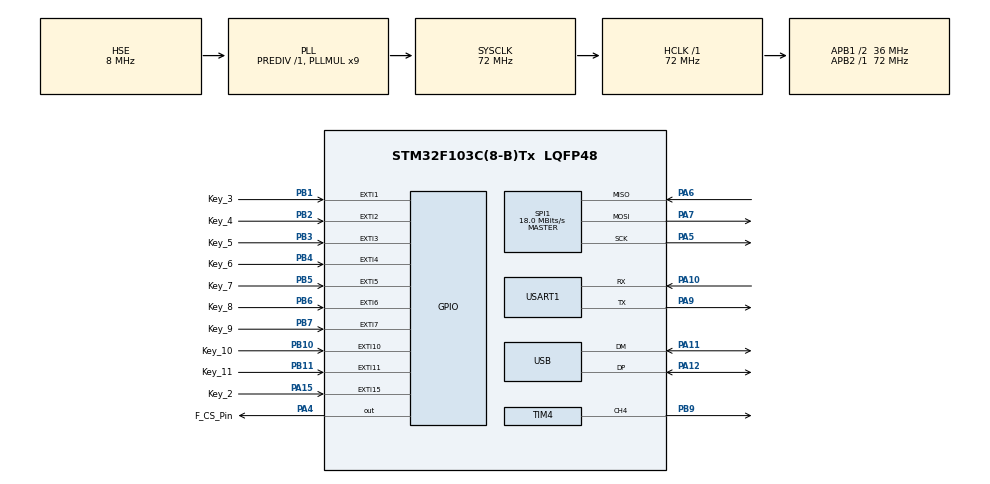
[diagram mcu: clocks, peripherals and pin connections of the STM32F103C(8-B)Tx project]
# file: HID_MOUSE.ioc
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Dma.Request0=USART1_TX
Dma.Request1=SPI1_RX
Dma.Request2=SPI1_TX
Dma.Request3=USART1_RX
Dma.SPI1_RX.1.Direction=DMA_PERIPH_TO_MEMORY
Dma.SPI1_RX.1.Instance=DMA1_Channel2
Dma.SPI1_RX.1.MemDataAlignment=DMA_MDATAALIGN_BYTE
Dma.SPI1_RX.1.MemInc=DMA_MINC_ENABLE
Dma.SPI1_RX.1.Mode=DMA_NORMAL
Dma.SPI1_RX.1.PeriphDataAlignment=DMA_PDATAALIGN_BYTE
Dma.SPI1_RX.1.PeriphInc=DMA_PINC_DISABLE
Dma.SPI1_RX.1.Priority=DMA_PRIORITY_LOW
Dma.SPI1_TX.2.Direction=DMA_MEMORY_TO_PERIPH
Dma.SPI1_TX.2.Instance=DMA1_Channel3
Dma.SPI1_TX.2.MemDataAlignment=DMA_MDATAALIGN_BYTE
Dma.SPI1_TX.2.MemInc=DMA_MINC_ENABLE
Dma.SPI1_TX.2.Mode=DMA_NORMAL
Dma.SPI1_TX.2.PeriphDataAlignment=DMA_PDATAALIGN_BYTE
Dma.SPI1_TX.2.PeriphInc=DMA_PINC_DISABLE
Dma.SPI1_TX.2.Priority=DMA_PRIORITY_LOW
Dma.USART1_RX.3.Direction=DMA_PERIPH_TO_MEMORY
Dma.USART1_RX.3.Instance=DMA1_Channel5
Dma.USART1_RX.3.MemDataAlignment=DMA_MDATAALIGN_BYTE
Dma.USART1_RX.3.MemInc=DMA_MINC_ENABLE
Dma.USART1_RX.3.Mode=DMA_CIRCULAR
Dma.USART1_RX.3.PeriphDataAlignment=DMA_PDATAALIGN_BYTE
Dma.USART1_RX.3.PeriphInc=DMA_PINC_DISABLE
Dma.USART1_RX.3.Priority=DMA_PRIORITY_LOW
Dma.USART1_TX.0.Direction=DMA_MEMORY_TO_PERIPH
Dma.USART1_TX.0.Instance=DMA1_Channel4
Dma.USART1_TX.0.MemDataAlignment=DMA_MDATAALIGN_BYTE
Dma.USART1_TX.0.MemInc=DMA_MINC_ENABLE
Dma.USART1_TX.0.Mode=DMA_NORMAL
Dma.USART1_TX.0.PeriphDataAlignment=DMA_PDATAALIGN_BYTE
Dma.USART1_TX.0.PeriphInc=DMA_PINC_DISABLE
Dma.USART1_TX.0.Priority=DMA_PRIORITY_LOW
FREERTOS.INCLUDE_vTaskDelayUntil=1
FREERTOS.Tasks01=defaultTask,0,128,StartDefaultTask,Default,NULL
FREERTOS.configTIMER_QUEUE_LENGTH=5
FREERTOS.configTIMER_TASK_STACK_DEPTH=128
FREERTOS.configTOTAL_HEAP_SIZE=6144
FREERTOS.configUSE_TIMERS=1
Mcu.Family=STM32F1
Mcu.Name=STM32F103C(8-B)Tx
Mcu.Package=LQFP48
NVIC.DMA1_Channel2_IRQn=true\:5\:0\:false\:false\:true\:true\:false
NVIC.DMA1_Channel3_IRQn=true\:5\:0\:false\:false\:true\:true\:false
NVIC.DMA1_Channel4_IRQn=true\:5\:0\:false\:false\:true\:true\:false
NVIC.DMA1_Channel5_IRQn=true\:5\:0\:false\:false\:true\:true\:false
NVIC.EXTI15_10_IRQn=true\:5\:0\:false\:false\:true\:true\:true
NVIC.EXTI1_IRQn=true\:5\:0\:false\:false\:true\:true\:true
NVIC.EXTI2_IRQn=true\:5\:0\:false\:false\:true\:true\:true
NVIC.EXTI3_IRQn=true\:5\:0\:false\:false\:true\:true\:true
NVIC.EXTI4_IRQn=true\:5\:0\:false\:false\:true\:true\:true
NVIC.EXTI9_5_IRQn=true\:5\:0\:false\:false\:true\:true\:true
NVIC.FLASH_IRQn=true\:5\:0\:false\:false\:true\:true\:true
NVIC.PVD_IRQn=true\:5\:0\:false\:false\:true\:true\:true
NVIC.PriorityGroup=NVIC_PRIORITYGROUP_4
NVIC.RCC_IRQn=true\:5\:0\:false\:false\:true\:true\:true
NVIC.SPI1_IRQn=true\:5\:0\:false\:false\:true\:true\:true
NVIC.TIM1_UP_IRQn=true\:0\:0\:false\:false\:true\:false\:false
NVIC.TIM4_IRQn=true\:5\:0\:false\:false\:true\:true\:true
NVIC.TimeBase=TIM1_UP_IRQn
NVIC.TimeBaseIP=TIM1
NVIC.USART1_IRQn=true\:5\:0\:false\:false\:true\:true\:true
NVIC.USB_HP_CAN1_TX_IRQn=true\:6\:0\:true\:false\:true\:true\:true
NVIC.USB_LP_CAN1_RX0_IRQn=true\:6\:0\:true\:false\:true\:true\:true
PA0-WKUP.Mode=SYS_WakeUp0
PA0-WKUP.Signal=SYS_WKUP
PA10.Mode=Asynchronous
PA10.Signal=USART1_RX
PA11.Mode=Device
PA11.Signal=USB_DM
PA12.Mode=Device
PA12.Signal=USB_DP
PA13.Mode=Serial_Wire
PA13.Signal=SYS_JTMS-SWDIO
PA14.Mode=Serial_Wire
PA14.Signal=SYS_JTCK-SWCLK
PA15.GPIO_Label=Key_2
PA15.GPIO_ModeDefaultEXTI=GPIO_MODE_IT_RISING_FALLING
PA15.GPIO_PuPd=GPIO_PULLDOWN
PA15.Signal=GPXTI15
PA4.GPIO_Label=F_CS_Pin
PA4.GPIO_PuPd=GPIO_PULLDOWN
PA4.Signal=GPIO_Output
PA5.Mode=Full_Duplex_Master
PA5.Signal=SPI1_SCK
PA6.Mode=Full_Duplex_Master
PA6.Signal=SPI1_MISO
PA7.Mode=Full_Duplex_Master
PA7.Signal=SPI1_MOSI
PA9.Mode=Asynchronous
PA9.Signal=USART1_TX
PB1.GPIO_Label=Key_3
PB1.GPIO_ModeDefaultEXTI=GPIO_MODE_IT_RISING_FALLING
PB1.GPIO_PuPd=GPIO_PULLDOWN
PB1.Signal=GPXTI1
PB10.GPIO_Label=Key_10
PB10.GPIO_ModeDefaultEXTI=GPIO_MODE_IT_RISING_FALLING
PB10.GPIO_PuPd=GPIO_PULLDOWN
PB10.Signal=GPXTI10
PB11.GPIO_Label=Key_11
PB11.GPIO_ModeDefaultEXTI=GPIO_MODE_IT_RISING_FALLING
PB11.GPIO_PuPd=GPIO_PULLDOWN
PB11.Signal=GPXTI11
PB2.GPIO_Label=Key_4
PB2.GPIO_ModeDefaultEXTI=GPIO_MODE_IT_RISING_FALLING
PB2.GPIO_PuPd=GPIO_PULLDOWN
PB2.Signal=GPXTI2
PB3.GPIO_Label=Key_5
PB3.GPIO_ModeDefaultEXTI=GPIO_MODE_IT_RISING_FALLING
PB3.GPIO_PuPd=GPIO_PULLDOWN
PB3.Signal=GPXTI3
PB4.GPIO_Label=Key_6
PB4.GPIO_ModeDefaultEXTI=GPIO_MODE_IT_RISING_FALLING
PB4.GPIO_PuPd=GPIO_PULLDOWN
PB4.Signal=GPXTI4
PB5.GPIO_Label=Key_7
PB5.GPIO_ModeDefaultEXTI=GPIO_MODE_IT_RISING_FALLING
PB5.GPIO_PuPd=GPIO_PULLDOWN
PB5.Signal=GPXTI5
PB6.GPIO_Label=Key_8
PB6.GPIO_ModeDefaultEXTI=GPIO_MODE_IT_RISING_FALLING
PB6.GPIO_PuPd=GPIO_PULLDOWN
PB6.Signal=GPXTI6
PB7.GPIO_Label=Key_9
PB7.GPIO_ModeDefaultEXTI=GPIO_MODE_IT_RISING_FALLING
PB7.GPIO_PuPd=GPIO_PULLDOWN
PB7.Signal=GPXTI7
PB9.Signal=S_TIM4_CH4
PD0-OSC_IN.Mode=HSE-External-Oscillator
PD0-OSC_IN.Signal=RCC_OSC_IN
PD1-OSC_OUT.Mode=HSE-External-Oscillator
PD1-OSC_OUT.Signal=RCC_OSC_OUT
ProjectManager.HeapSize=0x200
ProjectManager.StackSize=0x400
ProjectManager.TargetToolchain=MDK-ARM V5
RCC.AHBFreq_Value=72000000
RCC.APB1CLKDivider=RCC_HCLK_DIV2
RCC.APB1Freq_Value=36000000
RCC.APB1TimFreq_Value=72000000
RCC.APB2Freq_Value=72000000
RCC.APB2TimFreq_Value=72000000
RCC.HCLKFreq_Value=72000000
RCC.PLLMUL=RCC_PLL_MUL9
RCC.SYSCLKFreq_VALUE=72000000
RCC.SYSCLKSource=RCC_SYSCLKSOURCE_PLLCLK
RCC.USBFreq_Value=48000000
RCC.USBPrescaler=RCC_USBCLKSOURCE_PLL_DIV1_5
SH.S_TIM4_CH4.0=TIM4_CH4,PWM Generation4 CH4
SPI1.BaudRatePrescaler=SPI_BAUDRATEPRESCALER_4
SPI1.CLKPhase=SPI_PHASE_2EDGE
SPI1.CLKPolarity=SPI_POLARITY_HIGH
SPI1.CalculateBaudRate=18.0 MBits/s
SPI1.Direction=SPI_DIRECTION_2LINES
SPI1.Mode=SPI_MODE_MASTER
SPI1.VirtualType=VM_MASTER
TIM4.Channel-PWM\ Generation4\ CH4=TIM_CHANNEL_4
TIM4.OCPolarity_4=TIM_OCPOLARITY_LOW
TIM4.Period=100-1
TIM4.Prescaler=72-1
USART1.VirtualMode=VM_ASYNC
USB_DEVICE.CLASS_NAME_FS=HID
USB_DEVICE.USBD_SELF_POWERED=0
USB_DEVICE.VirtualMode=Hid
USB_DEVICE.VirtualModeFS=Hid_FS
VP_FREERTOS_VS_ENABLE.Mode=Enabled
VP_SYS_VS_tim1.Mode=TIM1
VP_USB_DEVICE_VS_USB_DEVICE_HID_FS.Mode=HID_FS
board=custom

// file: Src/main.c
/* USER CODE BEGIN Header */
/**
  ******************************************************************************
  * @file           : main.c
  * @brief          : Main program body
  ******************************************************************************
  * This notice applies to any and all portions of this file
  * that are not between comment pairs USER CODE BEGIN and
  * USER CODE END. Other portions of this file, whether
  * inserted by the user or by software development tools
  * are owned by their respective copyright owners.
  *
  * Copyright (c) 2019 STMicroelectronics International N.V.
  * All rights reserved.
  *
  * Redistribution and use in source and binary forms, with or without
  * modification, are permitted, provided that the following conditions are met:
  *
  * 1. Redistribution of source code must retain the above copyright notice,
  *    this list of conditions and the following disclaimer.
  * 2. Redistributions in binary form must reproduce the above copyright notice,
  *    this list of conditions and the following disclaimer in the documentation
  *    and/or other materials provided with the distribution.
  * 3. Neither the name of STMicroelectronics nor the names of other
  *    contributors to this software may be used to endorse or promote products
  *    derived from this software without specific written permission.
  * 4. This software, including modifications and/or derivative works of this
  *    software, must execute solely and exclusively on microcontroller or
  *    microprocessor devices manufactured by or for STMicroelectronics.
  * 5. Redistribution and use of this software other than as permitted under
  *    this license is void and will automatically terminate your rights under
  *    this license.
  *
  * THIS SOFTWARE IS PROVIDED BY STMICROELECTRONICS AND CONTRIBUTORS "AS IS"
  * AND ANY EXPRESS, IMPLIED OR STATUTORY WARRANTIES, INCLUDING, BUT NOT
  * LIMITED TO, THE IMPLIED WARRANTIES OF MERCHANTABILITY, FITNESS FOR A
  * PARTICULAR PURPOSE AND NON-INFRINGEMENT OF THIRD PARTY INTELLECTUAL PROPERTY
  * RIGHTS ARE DISCLAIMED TO THE FULLEST EXTENT PERMITTED BY LAW. IN NO EVENT
  * SHALL STMICROELECTRONICS OR CONTRIBUTORS BE LIABLE FOR ANY DIRECT, INDIRECT,
  * INCIDENTAL, SPECIAL, EXEMPLARY, OR CONSEQUENTIAL DAMAGES (INCLUDING, BUT NOT
  * LIMITED TO, PROCUREMENT OF SUBSTITUTE GOODS OR SERVICES; LOSS OF USE, DATA,
  * OR PROFITS; OR BUSINESS INTERRUPTION) HOWEVER CAUSED AND ON ANY THEORY OF
  * LIABILITY, WHETHER IN CONTRACT, STRICT LIABILITY, OR TORT (INCLUDING
  * NEGLIGENCE OR OTHERWISE) ARISING IN ANY WAY OUT OF THE USE OF THIS SOFTWARE,
  * EVEN IF ADVISED OF THE POSSIBILITY OF SUCH DAMAGE.
  *
  ******************************************************************************
  */
/* USER CODE END Header */

#include "main.h"
#include "cmsis_os.h"
#include "dma.h"
#include "spi.h"
#include "tim.h"
#include "usart.h"
#include "usb_device.h"
#include "gpio.h"

/* USER CODE BEGIN Includes */
#include "spiffs_user.h"
#include "User_Task.h"
#include "key.h"
#include "led.h"
/* USER CODE END Includes */

/* USER CODE BEGIN PTD */

/* 仅在main.c文件使用的函数 */

/* 仅在main.c文件使用的函数 */

/* USER CODE END PTD */

/* USER CODE BEGIN PD */

/* main.c所引用的变量 */

extern TaskHandle_t        Start_Task_Handler;      //开始任务句柄

extern SemaphoreHandle_t   xSemaphore_Lamp;         //状态指示灯二值信号量

/* main.c所引用的变量 */

/* USER CODE END PD */

/* USER CODE BEGIN PV */

int fputc(int ch, FILE *f)
{
    HAL_UART_Transmit_DMA(&huart1, (uint8_t *)&ch, 1);
    vTaskDelay(1);
    return 0;
}

/* USER CODE END PV */

void SystemClock_Config(void);
void MX_FREERTOS_Init(void);

int main(void)
{
  /* USER CODE BEGIN 1 */
  uint8_t i=17;
  /* USER CODE END 1 */

  /* MCU Configuration--------------------------------------------------------*/

  /* Reset of all peripherals, Initializes the Flash interface and the Systick. */
  HAL_Init();

  /* Configure the system clock */
  SystemClock_Config();

  /* USER CODE BEGIN SysInit */

	/* 上电或复位时USB未进入掉电模式 */

	USB_Relink();

	/* 上电或复位时USB未进入掉电模式 */
  /* USER CODE END SysInit */

  /* Initialize all configured peripherals */
  MX_GPIO_Init();
  MX_DMA_Init();
  MX_TIM4_Init();
  MX_USART1_UART_Init();
  MX_SPI1_Init();
	MX_USB_DEVICE_Init();
  /* USER CODE BEGIN 2 */

	/*按键控制初始化*/

	KeyCtrlFreertosInit();

	/*按键控制初始化*/

	/*打开PWM输出通道_状态指示灯*/

	HAL_TIM_PWM_Start(&htim4,TIM_CHANNEL_4);

	/*打开PWM输出通道_状态指示灯*/

	/* 挂载文件系统 */

  //sys_spiffs_mount_coreflash();

	/* 挂载文件系统 */

  /* USER CODE END 2 */

  /* Call init function for freertos objects (in freertos.c) */
  MX_FREERTOS_Init();
  /* Infinite loop */

    /* USER CODE BEGIN 3 */

		/*创建开始任务*/

       xTaskCreate((TaskFunction_t) Start_Task,
	                (const char*    ) "Start_Task",
									(uint16_t       ) Start_Task_SIZE,
									(void*          ) NULL,
									(UBaseType_t    ) Start_Task_PRIO,
									(TaskHandle_t   ) &Start_Task_Handler);

		/*创建开始任务*/

  /* Start scheduler */

  osKernelStart();
  /* We should never get here as control is now taken by the scheduler */

    /* USER CODE END 3 */
}

void SystemClock_Config(void)
{
  RCC_OscInitTypeDef RCC_OscInitStruct = {0};
  RCC_ClkInitTypeDef RCC_ClkInitStruct = {0};
  RCC_PeriphCLKInitTypeDef PeriphClkInit = {0};

  /**Initializes the CPU, AHB and APB busses clocks
  */
  RCC_OscInitStruct.OscillatorType = RCC_OSCILLATORTYPE_HSE;
  RCC_OscInitStruct.HSEState = RCC_HSE_ON;
  RCC_OscInitStruct.HSEPredivValue = RCC_HSE_PREDIV_DIV1;
  RCC_OscInitStruct.HSIState = RCC_HSI_ON;
  RCC_OscInitStruct.PLL.PLLState = RCC_PLL_ON;
  RCC_OscInitStruct.PLL.PLLSource = RCC_PLLSOURCE_HSE;
  RCC_OscInitStruct.PLL.PLLMUL = RCC_PLL_MUL9;
  if (HAL_RCC_OscConfig(&RCC_OscInitStruct) != HAL_OK)
  {
    Error_Handler();
  }
  /**Initializes the CPU, AHB and APB busses clocks
  */
  RCC_ClkInitStruct.ClockType = RCC_CLOCKTYPE_HCLK|RCC_CLOCKTYPE_SYSCLK
                              |RCC_CLOCKTYPE_PCLK1|RCC_CLOCKTYPE_PCLK2;
  RCC_ClkInitStruct.SYSCLKSource = RCC_SYSCLKSOURCE_PLLCLK;
  RCC_ClkInitStruct.AHBCLKDivider = RCC_SYSCLK_DIV1;
  RCC_ClkInitStruct.APB1CLKDivider = RCC_HCLK_DIV2;
  RCC_ClkInitStruct.APB2CLKDivider = RCC_HCLK_DIV1;

  if (HAL_RCC_ClockConfig(&RCC_ClkInitStruct, FLASH_LATENCY_2) != HAL_OK)
  {
    Error_Handler();
  }
  PeriphClkInit.PeriphClockSelection = RCC_PERIPHCLK_USB;
  PeriphClkInit.UsbClockSelection = RCC_USBCLKSOURCE_PLL_DIV1_5;
  if (HAL_RCCEx_PeriphCLKConfig(&PeriphClkInit) != HAL_OK)
  {
    Error_Handler();
  }
}

void HAL_TIM_PeriodElapsedCallback(TIM_HandleTypeDef *htim)
{
  if (htim->Instance == TIM1) {
    HAL_IncTick();
  }
}

void Error_Handler(void)
{
}

/************************ (C) COPYRIGHT STMicroelectronics *****END OF FILE****/

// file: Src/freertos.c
/* USER CODE BEGIN Header */
/**
  ******************************************************************************
  * File Name          : freertos.c
  * Description        : Code for freertos applications
  ******************************************************************************
  * This notice applies to any and all portions of this file
  * that are not between comment pairs USER CODE BEGIN and
  * USER CODE END. Other portions of this file, whether
  * inserted by the user or by software development tools
  * are owned by their respective copyright owners.
  *
  * Copyright (c) 2019 STMicroelectronics International N.V.
  * All rights reserved.
  *
  * Redistribution and use in source and binary forms, with or without
  * modification, are permitted, provided that the following conditions are met:
  *
  * 1. Redistribution of source code must retain the above copyright notice,
  *    this list of conditions and the following disclaimer.
  * 2. Redistributions in binary form must reproduce the above copyright notice,
  *    this list of conditions and the following disclaimer in the documentation
  *    and/or other materials provided with the distribution.
  * 3. Neither the name of STMicroelectronics nor the names of other
  *    contributors to this software may be used to endorse or promote products
  *    derived from this software without specific written permission.
  * 4. This software, including modifications and/or derivative works of this
  *    software, must execute solely and exclusively on microcontroller or
  *    microprocessor devices manufactured by or for STMicroelectronics.
  * 5. Redistribution and use of this software other than as permitted under
  *    this license is void and will automatically terminate your rights under
  *    this license.
  *
  * THIS SOFTWARE IS PROVIDED BY STMICROELECTRONICS AND CONTRIBUTORS "AS IS"
  * AND ANY EXPRESS, IMPLIED OR STATUTORY WARRANTIES, INCLUDING, BUT NOT
  * LIMITED TO, THE IMPLIED WARRANTIES OF MERCHANTABILITY, FITNESS FOR A
  * PARTICULAR PURPOSE AND NON-INFRINGEMENT OF THIRD PARTY INTELLECTUAL PROPERTY
  * RIGHTS ARE DISCLAIMED TO THE FULLEST EXTENT PERMITTED BY LAW. IN NO EVENT
  * SHALL STMICROELECTRONICS OR CONTRIBUTORS BE LIABLE FOR ANY DIRECT, INDIRECT,
  * INCIDENTAL, SPECIAL, EXEMPLARY, OR CONSEQUENTIAL DAMAGES (INCLUDING, BUT NOT
  * LIMITED TO, PROCUREMENT OF SUBSTITUTE GOODS OR SERVICES; LOSS OF USE, DATA,
  * OR PROFITS; OR BUSINESS INTERRUPTION) HOWEVER CAUSED AND ON ANY THEORY OF
  * LIABILITY, WHETHER IN CONTRACT, STRICT LIABILITY, OR TORT (INCLUDING
  * NEGLIGENCE OR OTHERWISE) ARISING IN ANY WAY OUT OF THE USE OF THIS SOFTWARE,
  * EVEN IF ADVISED OF THE POSSIBILITY OF SUCH DAMAGE.
  *
  ******************************************************************************
  */
/* USER CODE END Header */

#include "FreeRTOS.h"
#include "task.h"
#include "main.h"
#include "cmsis_os.h"

osThreadId defaultTaskHandle;

void StartDefaultTask(void const * argument);

extern void MX_USB_DEVICE_Init(void);
void MX_FREERTOS_Init(void); /* (MISRA C 2004 rule 8.1) */

void MX_FREERTOS_Init(void) {

  /* Create the thread(s) */
  /* definition and creation of defaultTask */
  osThreadDef(defaultTask, StartDefaultTask, osPriorityNormal, 0, 128);
  defaultTaskHandle = osThreadCreate(osThread(defaultTask), NULL);

}

void StartDefaultTask(void const * argument)
{
  /* init code for USB_DEVICE */
  MX_USB_DEVICE_Init();

  for(;;)
  {
    osDelay(1);
  }
}

/************************ (C) COPYRIGHT STMicroelectronics *****END OF FILE****/
